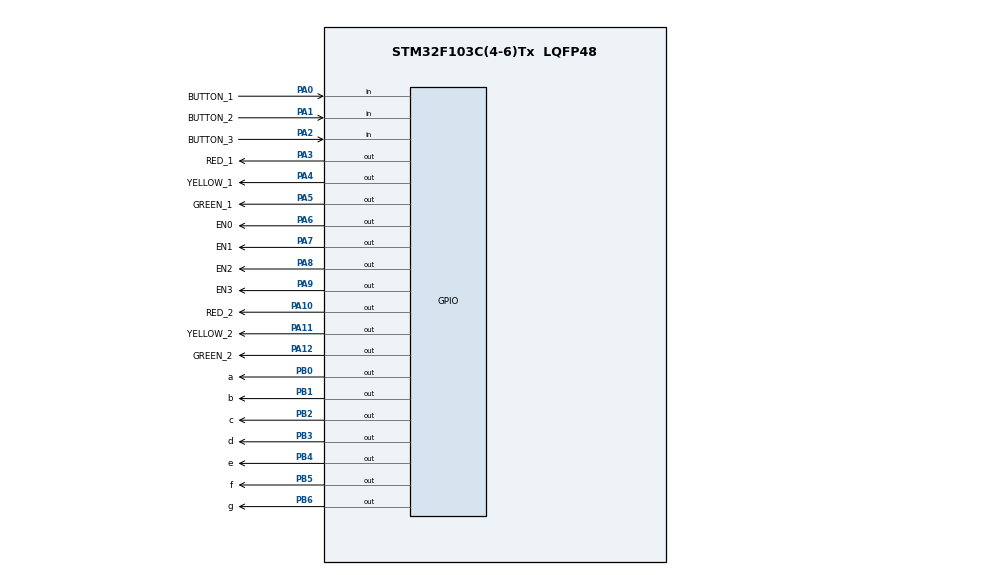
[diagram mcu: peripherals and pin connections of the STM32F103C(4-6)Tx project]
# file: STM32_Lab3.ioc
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Mcu.Family=STM32F1
Mcu.Name=STM32F103C(4-6)Tx
Mcu.Package=LQFP48
NVIC.PriorityGroup=NVIC_PRIORITYGROUP_4
NVIC.TIM2_IRQn=true\:0\:0\:false\:false\:true\:true\:true
PA0-WKUP.GPIO_Label=BUTTON_1
PA0-WKUP.GPIO_PuPd=GPIO_PULLUP
PA0-WKUP.Signal=GPIO_Input
PA1.GPIO_Label=BUTTON_2
PA1.GPIO_PuPd=GPIO_PULLUP
PA1.Signal=GPIO_Input
PA10.GPIO_Label=RED_2
PA10.PinState=GPIO_PIN_SET
PA10.Signal=GPIO_Output
PA11.GPIO_Label=YELLOW_2
PA11.PinState=GPIO_PIN_SET
PA11.Signal=GPIO_Output
PA12.GPIO_Label=GREEN_2
PA12.PinState=GPIO_PIN_SET
PA12.Signal=GPIO_Output
PA2.GPIO_Label=BUTTON_3
PA2.GPIO_PuPd=GPIO_PULLUP
PA2.Signal=GPIO_Input
PA3.GPIO_Label=RED_1
PA3.PinState=GPIO_PIN_SET
PA3.Signal=GPIO_Output
PA4.GPIO_Label=YELLOW_1
PA4.PinState=GPIO_PIN_SET
PA4.Signal=GPIO_Output
PA5.GPIO_Label=GREEN_1
PA5.PinState=GPIO_PIN_SET
PA5.Signal=GPIO_Output
PA6.GPIO_Label=EN0
PA6.PinState=GPIO_PIN_SET
PA6.Signal=GPIO_Output
PA7.GPIO_Label=EN1
PA7.PinState=GPIO_PIN_SET
PA7.Signal=GPIO_Output
PA8.GPIO_Label=EN2
PA8.PinState=GPIO_PIN_SET
PA8.Signal=GPIO_Output
PA9.GPIO_Label=EN3
PA9.PinState=GPIO_PIN_SET
PA9.Signal=GPIO_Output
PB0.GPIO_Label=a
PB0.PinState=GPIO_PIN_SET
PB0.Signal=GPIO_Output
PB1.GPIO_Label=b
PB1.PinState=GPIO_PIN_SET
PB1.Signal=GPIO_Output
PB2.GPIO_Label=c
PB2.PinState=GPIO_PIN_SET
PB2.Signal=GPIO_Output
PB3.GPIO_Label=d
PB3.PinState=GPIO_PIN_SET
PB3.Signal=GPIO_Output
PB4.GPIO_Label=e
PB4.PinState=GPIO_PIN_SET
PB4.Signal=GPIO_Output
PB5.GPIO_Label=f
PB5.PinState=GPIO_PIN_SET
PB5.Signal=GPIO_Output
PB6.GPIO_Label=g
PB6.PinState=GPIO_PIN_SET
PB6.Signal=GPIO_Output
ProjectManager.HeapSize=0x200
ProjectManager.StackSize=0x400
ProjectManager.TargetToolchain=STM32CubeIDE
RCC.APB1Freq_Value=8000000
RCC.APB2Freq_Value=8000000
TIM2.Period=9
TIM2.Prescaler=7999
VP_SYS_VS_ND.Mode=No_Debug
VP_TIM2_VS_ClockSourceINT.Mode=Internal
board=custom

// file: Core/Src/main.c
/* USER CODE BEGIN Header */
/**
  ******************************************************************************
  * @file           : main.c
  * @brief          : Main program body
  ******************************************************************************
  * @attention
  *
  * <h2><center>&copy; Copyright (c) 2026 STMicroelectronics.
  * All rights reserved.</center></h2>
  *
  * This software component is licensed by ST under BSD 3-Clause license,
  * the "License"; You may not use this file except in compliance with the
  * License. You may obtain a copy of the License at:
  *                        opensource.org/licenses/BSD-3-Clause
  *
  ******************************************************************************
  */
/* USER CODE END Header */
#include "main.h"

/* USER CODE BEGIN Includes */
#include "software_timer.h"
#include "input_reading.h"
#include "fsm_mode.h"
#include "display7seg.h"
#include "traffic_light.h"
/* USER CODE END Includes */

TIM_HandleTypeDef htim2;

void SystemClock_Config(void);
static void MX_GPIO_Init(void);
static void MX_TIM2_Init(void);

/* USER CODE BEGIN 0 */
int red_time = 5;
int yellow_time = 2;
int green_time = 3;
int led_index = 0;
/* USER CODE END 0 */

int main(void)
{

  /* MCU Configuration--------------------------------------------------------*/

  /* Reset of all peripherals, Initializes the Flash interface and the Systick. */
  HAL_Init();

  /* Configure the system clock */
  SystemClock_Config();

  /* Initialize all configured peripherals */
  MX_GPIO_Init();
  MX_TIM2_Init();
  /* USER CODE BEGIN 2 */
  HAL_TIM_Base_Start_IT(&htim2);
  setTimer1(250);
  setTimer2(250);
  setTimer4(10);
  traffic_light_init();
  /* USER CODE END 2 */

  /* Infinite loop */
  /* USER CODE BEGIN WHILE */

  while (1)
  {
    if (timer4_flag == 1) {
      setTimer4(10);
      button_reading();
    }

    fsm_mode_run();

    if(mode == 1) traffic_light_run();
    else{
		switch (mode) {
			   case 1: updateLEDBuffer(red_time, 1); break;
			   case 2: updateLEDBuffer(temp_red_time, 2); break;
			   case 3: updateLEDBuffer(temp_yellow_time, 3); break;
			   case 4: updateLEDBuffer(temp_green_time, 4); break;
			   default: break;
		}
    }

    if (timer2_flag == 1) {
            setTimer2(250);
            update7seg(led_index);
            led_index = (led_index + 1) % 4;
    }

    if (timer1_flag == 1) {
            setTimer1(250);
            switch (mode) {
                case 1:
                    // Mode 1: Tat tat ca cac den
//                    HAL_GPIO_WritePin(GPIOA, RED_1_Pin | YELLOW_1_Pin | GREEN_1_Pin |
//                                             RED_2_Pin | YELLOW_2_Pin | GREEN_2_Pin, GPIO_PIN_SET);
                    break;
                case 2:
                    // Mode 2: Nhap nhay 2 den Do, tat Vang va Xanh
                    HAL_GPIO_TogglePin(GPIOA, RED_1_Pin | RED_2_Pin);
                    HAL_GPIO_WritePin(GPIOA, YELLOW_1_Pin | GREEN_1_Pin |
                                             YELLOW_2_Pin | GREEN_2_Pin, GPIO_PIN_SET);
                    break;
                case 3:
                    // Mode 3: Nhap nhay 2 den Vang, tat Do va Xanh
                    HAL_GPIO_TogglePin(GPIOA, YELLOW_1_Pin | YELLOW_2_Pin);
                    HAL_GPIO_WritePin(GPIOA, RED_1_Pin | GREEN_1_Pin |
                                             RED_2_Pin | GREEN_2_Pin, GPIO_PIN_SET);
                    break;
                case 4:
                    // Mode 4: Nhap nhay 2 den Xanh, tat Do va Vang
                    HAL_GPIO_TogglePin(GPIOA, GREEN_1_Pin | GREEN_2_Pin);
                    HAL_GPIO_WritePin(GPIOA, RED_1_Pin | YELLOW_1_Pin |
                                             RED_2_Pin | YELLOW_2_Pin, GPIO_PIN_SET);
                    break;
                default: break;
            }
    }

    /* USER CODE END WHILE */

  }
}

void SystemClock_Config(void)
{
  RCC_OscInitTypeDef RCC_OscInitStruct = {0};
  RCC_ClkInitTypeDef RCC_ClkInitStruct = {0};

  /** Initializes the RCC Oscillators according to the specified parameters
  * in the RCC_OscInitTypeDef structure.
  */
  RCC_OscInitStruct.OscillatorType = RCC_OSCILLATORTYPE_HSI;
  RCC_OscInitStruct.HSIState = RCC_HSI_ON;
  RCC_OscInitStruct.HSICalibrationValue = RCC_HSICALIBRATION_DEFAULT;
  RCC_OscInitStruct.PLL.PLLState = RCC_PLL_NONE;
  if (HAL_RCC_OscConfig(&RCC_OscInitStruct) != HAL_OK)
  {
    Error_Handler();
  }
  /** Initializes the CPU, AHB and APB buses clocks
  */
  RCC_ClkInitStruct.ClockType = RCC_CLOCKTYPE_HCLK|RCC_CLOCKTYPE_SYSCLK
                              |RCC_CLOCKTYPE_PCLK1|RCC_CLOCKTYPE_PCLK2;
  RCC_ClkInitStruct.SYSCLKSource = RCC_SYSCLKSOURCE_HSI;
  RCC_ClkInitStruct.AHBCLKDivider = RCC_SYSCLK_DIV1;
  RCC_ClkInitStruct.APB1CLKDivider = RCC_HCLK_DIV1;
  RCC_ClkInitStruct.APB2CLKDivider = RCC_HCLK_DIV1;

  if (HAL_RCC_ClockConfig(&RCC_ClkInitStruct, FLASH_LATENCY_0) != HAL_OK)
  {
    Error_Handler();
  }
}

static void MX_TIM2_Init(void)
{

  TIM_ClockConfigTypeDef sClockSourceConfig = {0};
  TIM_MasterConfigTypeDef sMasterConfig = {0};

  htim2.Instance = TIM2;
  htim2.Init.Prescaler = 7999;
  htim2.Init.CounterMode = TIM_COUNTERMODE_UP;
  htim2.Init.Period = 9;
  htim2.Init.ClockDivision = TIM_CLOCKDIVISION_DIV1;
  htim2.Init.AutoReloadPreload = TIM_AUTORELOAD_PRELOAD_DISABLE;
  if (HAL_TIM_Base_Init(&htim2) != HAL_OK)
  {
    Error_Handler();
  }
  sClockSourceConfig.ClockSource = TIM_CLOCKSOURCE_INTERNAL;
  if (HAL_TIM_ConfigClockSource(&htim2, &sClockSourceConfig) != HAL_OK)
  {
    Error_Handler();
  }
  sMasterConfig.MasterOutputTrigger = TIM_TRGO_RESET;
  sMasterConfig.MasterSlaveMode = TIM_MASTERSLAVEMODE_DISABLE;
  if (HAL_TIMEx_MasterConfigSynchronization(&htim2, &sMasterConfig) != HAL_OK)
  {
    Error_Handler();
  }

}

static void MX_GPIO_Init(void)
{
  GPIO_InitTypeDef GPIO_InitStruct = {0};

  /* GPIO Ports Clock Enable */
  __HAL_RCC_GPIOA_CLK_ENABLE();
  __HAL_RCC_GPIOB_CLK_ENABLE();

  /*Configure GPIO pin Output Level */
  HAL_GPIO_WritePin(GPIOA, RED_1_Pin|YELLOW_1_Pin|GREEN_1_Pin|EN0_Pin
                          |EN1_Pin|EN2_Pin|EN3_Pin|RED_2_Pin
                          |YELLOW_2_Pin|GREEN_2_Pin, GPIO_PIN_SET);

  /*Configure GPIO pin Output Level */
  HAL_GPIO_WritePin(GPIOB, a_Pin|b_Pin|c_Pin|d_Pin
                          |e_Pin|f_Pin|g_Pin, GPIO_PIN_SET);

  /*Configure GPIO pins : BUTTON_1_Pin BUTTON_2_Pin BUTTON_3_Pin */
  GPIO_InitStruct.Pin = BUTTON_1_Pin|BUTTON_2_Pin|BUTTON_3_Pin;
  GPIO_InitStruct.Mode = GPIO_MODE_INPUT;
  GPIO_InitStruct.Pull = GPIO_PULLUP;
  HAL_GPIO_Init(GPIOA, &GPIO_InitStruct);

  /*Configure GPIO pins : RED_1_Pin YELLOW_1_Pin GREEN_1_Pin EN0_Pin
                           EN1_Pin EN2_Pin EN3_Pin RED_2_Pin
                           YELLOW_2_Pin GREEN_2_Pin */
  GPIO_InitStruct.Pin = RED_1_Pin|YELLOW_1_Pin|GREEN_1_Pin|EN0_Pin
                          |EN1_Pin|EN2_Pin|EN3_Pin|RED_2_Pin
                          |YELLOW_2_Pin|GREEN_2_Pin;
  GPIO_InitStruct.Mode = GPIO_MODE_OUTPUT_PP;
  GPIO_InitStruct.Pull = GPIO_NOPULL;
  GPIO_InitStruct.Speed = GPIO_SPEED_FREQ_LOW;
  HAL_GPIO_Init(GPIOA, &GPIO_InitStruct);

  /*Configure GPIO pins : a_Pin b_Pin c_Pin d_Pin
                           e_Pin f_Pin g_Pin */
  GPIO_InitStruct.Pin = a_Pin|b_Pin|c_Pin|d_Pin
                          |e_Pin|f_Pin|g_Pin;
  GPIO_InitStruct.Mode = GPIO_MODE_OUTPUT_PP;
  GPIO_InitStruct.Pull = GPIO_NOPULL;
  GPIO_InitStruct.Speed = GPIO_SPEED_FREQ_LOW;
  HAL_GPIO_Init(GPIOB, &GPIO_InitStruct);

}

/* USER CODE BEGIN 4 */
void HAL_TIM_PeriodElapsedCallback(TIM_HandleTypeDef *htim){
  if (htim->Instance == TIM2) {
    timerRun();
  }
}
/* USER CODE END 4 */

void Error_Handler(void)
{
  __disable_irq();
  while (1)
  {
  }
}

/************************ (C) COPYRIGHT STMicroelectronics *****END OF FILE****/
